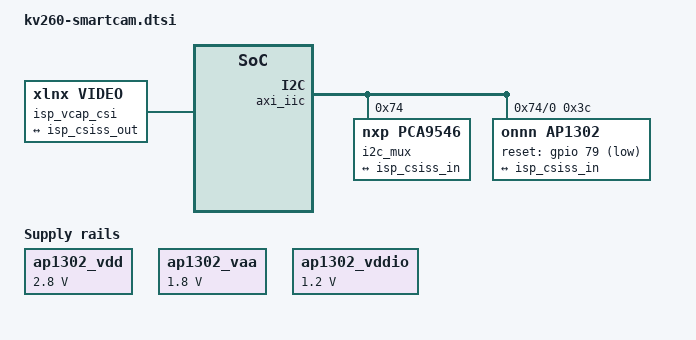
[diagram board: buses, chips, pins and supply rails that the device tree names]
// SPDX-License-Identifier: Apache-2.0
/*
 * dts file for Xilinx KV260 smartcam
 *
 * (C) Copyright 2020 - 2021, Xilinx, Inc.
 * Copyright (C) 2023 - 2024, Advanced Micro Devices, Inc.
 *
 */

/dts-v1/;
/plugin/;

&fpga_full {
	#address-cells = <2>;
	#size-cells = <2>;
	firmware-name = "kv260-smartcam.bit.bin";
	resets = <&zynqmp_reset 116>, <&zynqmp_reset 117>, <&zynqmp_reset 118>, <&zynqmp_reset 119>;
};

&amba {
	afi0: afi0 {
		compatible = "xlnx,afi-fpga";
		config-afi = <0 0>, <1 0>, <2 0>, <3 0>, <4 0>, <5 0>, <6 0>, <7 0>, <8 0>, <9 0>, <10 0>, <11 0>, <12 0>, <13 0>, <14 0x0>, <15 0x000>;
	};

	/* fpga clocks */
	pl0_ref_200M: pl0_ref_200M { /* clk_out1 - clk_wiz_0 */
		#clock-cells = <0x0>;
		compatible = "fixed-factor-clock";
		clocks = <&zynqmp_clk 71>;
		clock-div = <6>;
		clock-mult = <12>;
	};

	pl0_ref_100M: pl0_ref_100M { /* clk_out2 - clk_wiz_0 */
		#clock-cells = <0x0>;
		compatible = "fixed-factor-clock";
		clocks = <&zynqmp_clk 71>;
		clock-div = <12>;
		clock-mult = <12>;
	};

	pl0_ref_300M: pl0_ref_300M { /* clk_out3 - clk_wiz_0 */
		#clock-cells = <0x0>;
		compatible = "fixed-factor-clock";
		clocks = <&zynqmp_clk 71>;
		clock-div = <4>;
		clock-mult = <12>;
	};

	pl0_ref_50M: pl0_ref_50M { /* clk_out4 - clk_wiz_0 */
		#clock-cells = <0x0>;
		compatible = "fixed-factor-clock";
		clocks = <&zynqmp_clk 71>;
		clock-div = <24>;
		clock-mult = <12>;
	};

	pl1_ref_audio_clk: pl1_ref_audio_clk { /* clk_out1 - clk_wiz_audio */
		#clock-cells = <0x0>;
		compatible = "fixed-factor-clock";
		clocks = <&zynqmp_clk 72>;
		clock-div = <434>;
		clock-mult = <80>;
	};

	/* ar1335 isp mipi rx pipeline */
	ap1302_vdd: fixedregulator@0 {
		compatible = "regulator-fixed";
		regulator-name = "ap1302_vdd";
		regulator-min-microvolt = <2800000>;
		regulator-max-microvolt = <2800000>;
		enable-active-high;
	};

	ap1302_vaa: fixedregulator@1 {
		compatible = "regulator-fixed";
		regulator-name = "ap1302_vaa";
		regulator-min-microvolt = <1800000>;
		regulator-max-microvolt = <1800000>;
	};

	ap1302_vddio: fixedregulator@2 {
		compatible = "regulator-fixed";
		regulator-name = "ap1302_vddio";
		regulator-min-microvolt = <1200000>;
		regulator-max-microvolt = <1200000>;
	};

	axi_iic: i2c@80030000 {
		#address-cells = <1>;
		#size-cells = <0>;
		clock-names = "s_axi_aclk";
		clocks = <&pl0_ref_100M>;
		compatible = "xlnx,axi-iic-2.0", "xlnx,xps-iic-2.00.a";
		interrupt-names = "iic2intc_irpt";
		interrupt-parent = <&gic>;
		interrupts = <0 107 4>;
		reg = <0x0 0x80030000 0x0 0x10000>;

		i2c_mux: i2c-mux@74 {
			compatible = "nxp,pca9546";
			#address-cells = <1>;
			#size-cells = <0>;
			reg = <0x74>;
			i2c@0 {
				#address-cells = <1>;
				#size-cells = <0>;
				reg = <0>;
				ap1302: isp@3c {
					compatible = "onnn,ap1302";
					reg = <0x3c>;
					#address-cells = <1>;
					#size-cells = <0>;
					reset-gpios = <&gpio 79 1>;
					clocks = <&si5332_2>; /* u17 - 48MHZ clock - modelled in board dts */
					sensors {
						#address-cells = <1>;
						#size-cells = <0>;
						onnn,model = "onnn,ar1335";
						sensor@0 {
							reg = <0>;
							vdd-supply = <&ap1302_vdd>;
							vaa-supply = <&ap1302_vaa>;
							vddio-supply = <&ap1302_vddio>;
						};
					};
					ports {
						#address-cells = <1>;
						#size-cells = <0>;
						port@0 {
							reg = <2>;
							isp_out: endpoint {
								remote-endpoint = <&isp_csiss_in>;
								data-lanes = <1 2 3 4>;
							};
						};
					};
				};
			};
		};
	};

	isp_csiss: csiss@80000000 {
		compatible = "xlnx,mipi-csi2-rx-subsystem-5.0";
		reg = <0x0 0x80000000 0x0 0x10000>;
		clock-names = "lite_aclk", "dphy_clk_200M", "video_aclk";
		clocks = <&pl0_ref_100M>, <&pl0_ref_200M>, <&pl0_ref_300M>;
		interrupt-parent = <&gic>;
		interrupts = <0 104 4>;
		xlnx,csi-pxl-format = <0x18>;
		xlnx,axis-tdata-width = <32>;
		xlnx,max-lanes = <4>;
		xlnx,en-active-lanes;
		xlnx,ppc = <2>;
		xlnx,vfb;

		ports {
			#address-cells = <0x1>;
			#size-cells = <0x0>;

			port@1 {
				reg = <0x1>;

				isp_csiss_out: endpoint {
					remote-endpoint = <&isp_vcap_csi_in>;
				};
			};
			port@0 {
				reg = <0x0>;

				isp_csiss_in: endpoint {
					data-lanes = <1 2 3 4>;
					remote-endpoint = <&isp_out>;
				};
			};
		};
	};

	isp_fb_wr_csi: fb_wr@b0010000 {
		compatible = "xlnx,axi-frmbuf-wr-v2.1";
		reg = <0x0 0xb0010000 0x0 0x10000>;
		#dma-cells = <1>;
		interrupt-parent = <&gic>;
		interrupts = <0 105 4>;
		xlnx,vid-formats = "nv12";
		reset-gpios = <&gpio 78 1>;
		xlnx,dma-addr-width = <32>;
		xlnx,pixels-per-clock = <2>;
		xlnx,max-width = <3840>;
		xlnx,max-height = <2160>;
		clocks = <&pl0_ref_300M>;
		clock-names = "ap_clk";
	};

	isp_vcap_csi {
		compatible = "xlnx,video";
		dmas = <&isp_fb_wr_csi 0>;
		dma-names = "port0";

		ports {
			#address-cells = <1>;
			#size-cells = <0>;

			port@0 {
				reg = <0>;
				direction = "input";

				isp_vcap_csi_in: endpoint {
					remote-endpoint = <&isp_csiss_out>;
				};
			};
		};
	};

	/* i2s rx/tx audio pipeline */
/*	i2s_audio_formatter: audio_formatter@80040000 {
		clock-names = "s_axi_lite_aclk", "m_axis_mm2s_aclk", "aud_mclk", "s_axis_s2mm_aclk";
		clocks = <&pl0_ref_100M>, <&pl1_ref_audio_clk>, <&pl1_ref_audio_clk>, <&pl0_ref_100M>;
		compatible = "xlnx,audio-formatter-1.0", "xlnx,audio-formatter-1.0";
		interrupt-names = "irq_mm2s", "irq_s2mm";
		interrupt-parent = <&gic>;
		interrupts = <0 111 4 0 110 4>;
		reg = <0x0 0x80040000 0x0 0x10000>;
		xlnx,include-mm2s = <0x1>;
		xlnx,include-s2mm = <0x1>;
		xlnx,max-num-channels-mm2s = <0x2>;
		xlnx,max-num-channels-s2mm = <0x2>;
		xlnx,mm2s-addr-width = <0x40>;
		xlnx,mm2s-async-clock = <0x1>;
		xlnx,mm2s-dataformat = <0x3>;
		xlnx,packing-mode-mm2s = <0x0>;
		xlnx,packing-mode-s2mm = <0x0>;
		xlnx,rx = <&audio_rx>;
		xlnx,s2mm-addr-width = <0x40>;
		xlnx,s2mm-async-clock = <0x1>;
		xlnx,s2mm-dataformat = <0x1>;
		xlnx,tx = <&audio_tx>;
	};

	audio_rx: i2s_receiver@80060000 {
		clock-names = "s_axi_ctrl_aclk", "aud_mclk", "m_axis_aud_aclk";
		clocks = <&pl0_ref_100M>, <&pl1_ref_audio_clk>, <&pl0_ref_100M>;
		compatible = "xlnx,i2s-receiver-1.0", "xlnx,i2s-receiver-1.0";
		interrupt-names = "irq";
		interrupt-parent = <&gic>;
		interrupts = <0 108 4>;
		reg = <0x0 0x80060000 0x0 0x10000>;
		xlnx,depth = <0x80>;
		xlnx,dwidth = <0x18>;
		xlnx,num-channels = <0x1>;
		xlnx,snd-pcm = <&i2s_audio_formatter>;
	};

	audio_tx: i2s_transmitter@80070000 {
		clock-names = "s_axi_ctrl_aclk", "aud_mclk", "s_axis_aud_aclk";
		clocks = <&pl0_ref_100M>, <&pl1_ref_audio_clk>, <&pl0_ref_100M>;
		compatible = "xlnx,i2s-transmitter-1.0", "xlnx,i2s-transmitter-1.0";
		interrupt-names = "irq";
		interrupt-parent = <&gic>;
		interrupts = <0 109 4>;
		reg = <0x0 0x80070000 0x0 0x10000>;
		xlnx,depth = <0x80>;
		xlnx,dwidth = <0x18>;
		xlnx,num-channels = <0x1>;
		xlnx,snd-pcm = <&i2s_audio_formatter>;
	}; */

	/* vcu encode/decode */
	vcu: vcu@80100000 {
		#address-cells = <2>;
		#clock-cells = <1>;
		#size-cells = <2>;
		clock-names = "pll_ref", "aclk", "vcu_core_enc", "vcu_mcu_enc", "vcu_core_dec", "vcu_mcu_dec";
		clocks = <&pl0_ref_50M>, <&pl0_ref_100M>, <&vcu 0>, <&vcu 1>, <&vcu 2>, <&vcu 3>;
		compatible = "xlnx,vcu-1.2", "xlnx,vcu";
		interrupt-names = "vcu_host_interrupt";
		interrupt-parent = <&gic>;
		interrupts = <0 106 4>;
		ranges;
		reg = <0x0 0x80140000 0x0 0x1000>, <0x0 0x80141000 0x0 0x1000>;
		reg-names = "vcu_slcr", "logicore";
		reset-gpios = <&gpio 80 0>;

		al5e: al5e@80100000 {
			compatible = "al,al5e-1.2", "al,al5e";
			interrupt-parent = <&gic>;
			interrupts = <0 106 4>;
			reg = <0x0 0x80100000 0x0 0x10000>;
		};

		al5d: al5d@80120000 {
			compatible = "al,al5d-1.2", "al,al5d";
			interrupt-parent = <&gic>;
			interrupts = <0 106 4>;
			reg = <0x0 0x80120000 0x0 0x10000>;
		};
	};

	/* zocl */
	zocl: zyxclmm_drm {
		compatible = "xlnx,zocl";
		status = "okay";
		interrupt-parent = <&gic>;
		interrupts = <0 89  4>, <0 90  4>, <0 91  4>, <0 92  4>,
			     <0 93  4>, <0 94  4>, <0 95  4>, <0 96  4>;
	};
};
